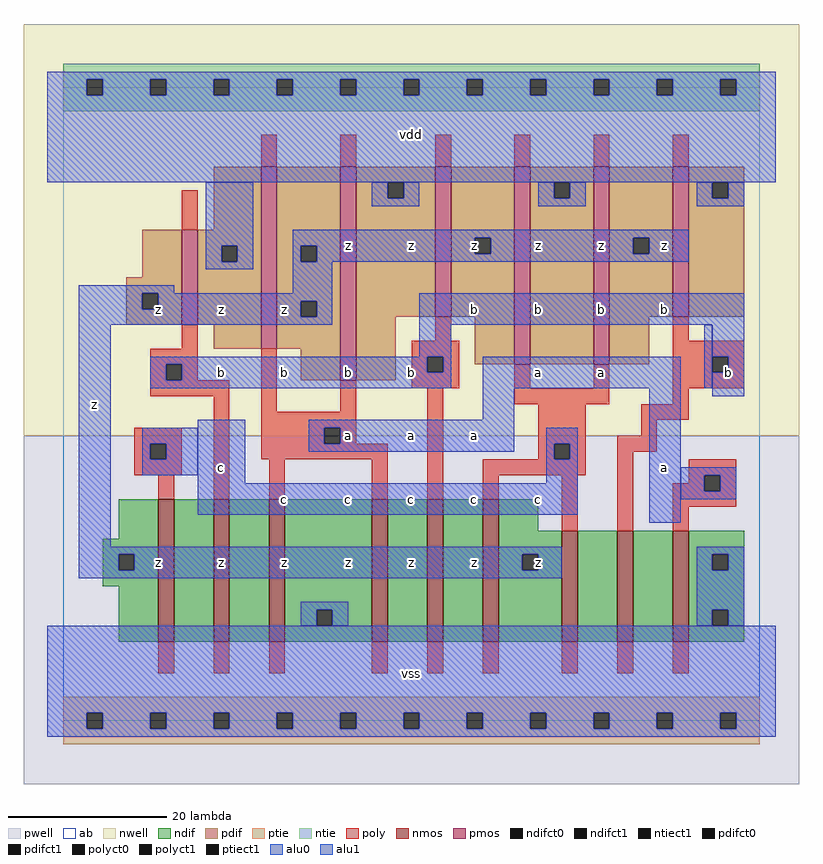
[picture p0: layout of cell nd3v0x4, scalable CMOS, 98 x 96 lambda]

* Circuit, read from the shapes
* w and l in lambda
.subckt nd3v0x4 a b c vdd vss z
M1 n1 c z vss nfet w=18 l=2
M2 n2 b n1 vss nfet w=18 l=2
M3 vss a n2 vss nfet w=18 l=2
M4 n3 a vss vss nfet w=18 l=2
M5 n4 b n3 vss nfet w=18 l=2
M6 z c n4 vss nfet w=18 l=2
M7 n5 c z vss nfet w=14 l=2
M8 n6 b n5 vss nfet w=14 l=2
M9 vss a n6 vss nfet w=14 l=2
M10 vdd b z vdd pfet w=12 l=2
M11 z a vdd vdd pfet w=23 l=2
M12 vdd a z vdd pfet w=27 l=2
M13 z b vdd vdd pfet w=19 l=2 m=2
M14 vdd c z vdd pfet w=25 l=2 m=2
.ends

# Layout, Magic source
magic
tech scmos
<< ab >>
rect 0 0 88 80
<< nwell >>
rect -5 36 93 88
<< pwell >>
rect -5 -8 93 36
<< poly >>
rect 25 70 27 74
rect 35 70 37 74
rect 47 70 49 74
rect 57 70 59 74
rect 67 70 69 74
rect 77 70 79 74
rect 15 62 17 67
rect 15 47 17 50
rect 11 45 17 47
rect 11 43 13 45
rect 15 43 17 45
rect 11 41 21 43
rect 9 35 15 37
rect 9 33 11 35
rect 13 33 15 35
rect 9 31 15 33
rect 12 28 14 31
rect 19 28 21 41
rect 25 39 27 47
rect 47 48 49 51
rect 44 46 50 48
rect 44 44 46 46
rect 48 44 50 46
rect 77 48 79 51
rect 77 46 86 48
rect 35 39 37 43
rect 44 42 50 44
rect 57 42 59 45
rect 67 42 69 45
rect 25 37 37 39
rect 25 35 33 37
rect 35 35 37 37
rect 25 33 41 35
rect 26 28 28 33
rect 39 28 41 33
rect 46 28 48 42
rect 57 40 69 42
rect 77 44 82 46
rect 84 44 86 46
rect 77 42 86 44
rect 77 40 79 42
rect 60 35 66 40
rect 73 38 79 40
rect 73 36 75 38
rect 60 33 62 35
rect 64 33 66 35
rect 53 31 66 33
rect 70 34 75 36
rect 53 28 55 31
rect 63 24 65 31
rect 70 24 72 34
rect 79 31 85 33
rect 79 30 81 31
rect 77 29 81 30
rect 83 29 85 31
rect 77 27 85 29
rect 77 24 79 27
rect 12 6 14 10
rect 19 6 21 10
rect 26 6 28 10
rect 39 6 41 10
rect 46 6 48 10
rect 53 6 55 10
rect 63 6 65 10
rect 70 6 72 10
rect 77 6 79 10
<< ndif >>
rect 7 23 12 28
rect 5 21 12 23
rect 5 19 7 21
rect 9 19 12 21
rect 5 17 12 19
rect 7 10 12 17
rect 14 10 19 28
rect 21 10 26 28
rect 28 14 39 28
rect 28 12 32 14
rect 34 12 39 14
rect 28 10 39 12
rect 41 10 46 28
rect 48 10 53 28
rect 55 24 60 28
rect 55 21 63 24
rect 55 19 58 21
rect 60 19 63 21
rect 55 10 63 19
rect 65 10 70 24
rect 72 10 77 24
rect 79 21 86 24
rect 79 19 82 21
rect 84 19 86 21
rect 79 14 86 19
rect 79 12 82 14
rect 84 12 86 14
rect 79 10 86 12
<< pdif >>
rect 19 62 25 70
rect 10 56 15 62
rect 8 54 15 56
rect 8 52 10 54
rect 12 52 15 54
rect 8 50 15 52
rect 17 60 25 62
rect 17 58 20 60
rect 22 58 25 60
rect 17 50 25 58
rect 19 47 25 50
rect 27 60 35 70
rect 27 58 30 60
rect 32 58 35 60
rect 27 53 35 58
rect 27 51 30 53
rect 32 51 35 53
rect 27 47 35 51
rect 30 43 35 47
rect 37 68 47 70
rect 37 66 41 68
rect 43 66 47 68
rect 37 51 47 66
rect 49 61 57 70
rect 49 59 52 61
rect 54 59 57 61
rect 49 51 57 59
rect 37 43 42 51
rect 52 45 57 51
rect 59 68 67 70
rect 59 66 62 68
rect 64 66 67 68
rect 59 45 67 66
rect 69 61 77 70
rect 69 59 72 61
rect 74 59 77 61
rect 69 51 77 59
rect 79 68 86 70
rect 79 66 82 68
rect 84 66 86 68
rect 79 51 86 66
rect 69 45 74 51
<< alu1 >>
rect -2 81 90 82
rect -2 79 3 81
rect 5 79 11 81
rect 13 79 19 81
rect 21 79 27 81
rect 29 79 35 81
rect 37 79 43 81
rect 45 79 51 81
rect 53 79 59 81
rect 61 79 67 81
rect 69 79 75 81
rect 77 79 83 81
rect 85 79 90 81
rect -2 68 90 79
rect 29 61 79 62
rect 29 60 52 61
rect 29 58 30 60
rect 32 59 52 60
rect 54 59 72 61
rect 74 59 79 61
rect 32 58 79 59
rect 2 54 14 55
rect 29 54 34 58
rect 2 52 10 54
rect 12 53 34 54
rect 12 52 30 53
rect 2 51 30 52
rect 32 51 34 53
rect 2 50 34 51
rect 45 50 86 54
rect 2 22 6 50
rect 45 46 49 50
rect 11 45 46 46
rect 11 43 13 45
rect 15 44 46 45
rect 48 44 49 46
rect 15 43 49 44
rect 11 42 49 43
rect 53 42 78 46
rect 82 46 86 50
rect 84 44 86 46
rect 53 38 57 42
rect 17 30 23 38
rect 31 37 57 38
rect 31 35 33 37
rect 35 35 57 37
rect 31 34 57 35
rect 61 35 65 37
rect 61 33 62 35
rect 64 33 65 35
rect 61 30 65 33
rect 17 26 65 30
rect 74 25 78 42
rect 82 41 86 44
rect 2 21 63 22
rect 2 19 7 21
rect 9 19 58 21
rect 60 19 63 21
rect 2 18 63 19
rect -2 1 90 12
rect -2 -1 3 1
rect 5 -1 11 1
rect 13 -1 19 1
rect 21 -1 27 1
rect 29 -1 35 1
rect 37 -1 43 1
rect 45 -1 51 1
rect 53 -1 59 1
rect 61 -1 67 1
rect 69 -1 75 1
rect 77 -1 83 1
rect 85 -1 90 1
rect -2 -2 90 -1
<< ptie >>
rect 0 1 88 3
rect 0 -1 3 1
rect 5 -1 11 1
rect 13 -1 19 1
rect 21 -1 27 1
rect 29 -1 35 1
rect 37 -1 43 1
rect 45 -1 51 1
rect 53 -1 59 1
rect 61 -1 67 1
rect 69 -1 75 1
rect 77 -1 83 1
rect 85 -1 88 1
rect 0 -3 88 -1
<< ntie >>
rect 0 81 88 83
rect 0 79 3 81
rect 5 79 11 81
rect 13 79 19 81
rect 21 79 27 81
rect 29 79 35 81
rect 37 79 43 81
rect 45 79 51 81
rect 53 79 59 81
rect 61 79 67 81
rect 69 79 75 81
rect 77 79 83 81
rect 85 79 88 81
rect 0 77 88 79
<< nmos >>
rect 12 10 14 28
rect 19 10 21 28
rect 26 10 28 28
rect 39 10 41 28
rect 46 10 48 28
rect 53 10 55 28
rect 63 10 65 24
rect 70 10 72 24
rect 77 10 79 24
<< pmos >>
rect 15 50 17 62
rect 25 47 27 70
rect 35 43 37 70
rect 47 51 49 70
rect 57 45 59 70
rect 67 45 69 70
rect 77 51 79 70
<< polyct0 >>
rect 11 33 13 35
rect 81 29 83 31
<< polyct1 >>
rect 13 43 15 45
rect 46 44 48 46
rect 33 35 35 37
rect 82 44 84 46
rect 62 33 64 35
<< ndifct0 >>
rect 32 12 34 14
rect 82 19 84 21
rect 82 12 84 14
<< ndifct1 >>
rect 7 19 9 21
rect 58 19 60 21
<< ntiect1 >>
rect 3 79 5 81
rect 11 79 13 81
rect 19 79 21 81
rect 27 79 29 81
rect 35 79 37 81
rect 43 79 45 81
rect 51 79 53 81
rect 59 79 61 81
rect 67 79 69 81
rect 75 79 77 81
rect 83 79 85 81
<< ptiect1 >>
rect 3 -1 5 1
rect 11 -1 13 1
rect 19 -1 21 1
rect 27 -1 29 1
rect 35 -1 37 1
rect 43 -1 45 1
rect 51 -1 53 1
rect 59 -1 61 1
rect 67 -1 69 1
rect 75 -1 77 1
rect 83 -1 85 1
<< pdifct0 >>
rect 20 58 22 60
rect 41 66 43 68
rect 62 66 64 68
rect 82 66 84 68
<< pdifct1 >>
rect 10 52 12 54
rect 30 58 32 60
rect 30 51 32 53
rect 52 59 54 61
rect 72 59 74 61
<< alu0 >>
rect 18 60 24 68
rect 39 66 41 68
rect 43 66 45 68
rect 39 65 45 66
rect 60 66 62 68
rect 64 66 66 68
rect 60 65 66 66
rect 80 66 82 68
rect 84 66 86 68
rect 80 65 86 66
rect 18 58 20 60
rect 22 58 24 60
rect 18 57 24 58
rect 81 42 82 50
rect 10 35 17 37
rect 10 33 11 35
rect 13 33 17 35
rect 10 31 17 33
rect 78 31 85 32
rect 78 29 81 31
rect 83 29 85 31
rect 78 28 85 29
rect 80 21 86 22
rect 80 19 82 21
rect 84 19 86 21
rect 30 14 36 15
rect 30 12 32 14
rect 34 12 36 14
rect 80 14 86 19
rect 80 12 82 14
rect 84 12 86 14
<< labels >>
rlabel alu1 12 20 12 20 6 z
rlabel alu1 4 40 4 40 6 z
rlabel alu1 12 52 12 52 6 z
rlabel alu1 20 20 20 20 6 z
rlabel alu1 28 20 28 20 6 z
rlabel alu1 28 28 28 28 6 c
rlabel alu1 20 32 20 32 6 c
rlabel alu1 20 44 20 44 6 b
rlabel alu1 28 44 28 44 6 b
rlabel alu1 20 52 20 52 6 z
rlabel alu1 28 52 28 52 6 z
rlabel alu1 44 6 44 6 6 vss
rlabel alu1 36 20 36 20 6 z
rlabel alu1 36 28 36 28 6 c
rlabel alu1 44 20 44 20 6 z
rlabel alu1 44 28 44 28 6 c
rlabel alu1 36 36 36 36 6 a
rlabel alu1 36 44 36 44 6 b
rlabel alu1 44 36 44 36 6 a
rlabel alu1 44 44 44 44 6 b
rlabel alu1 36 60 36 60 6 z
rlabel alu1 44 60 44 60 6 z
rlabel alu1 44 74 44 74 6 vdd
rlabel alu1 52 20 52 20 6 z
rlabel alu1 52 28 52 28 6 c
rlabel alu1 60 20 60 20 6 z
rlabel alu1 60 28 60 28 6 c
rlabel alu1 52 36 52 36 6 a
rlabel alu1 60 44 60 44 6 a
rlabel alu1 68 44 68 44 6 a
rlabel alu1 60 52 60 52 6 b
rlabel alu1 68 52 68 52 6 b
rlabel alu1 52 52 52 52 6 b
rlabel alu1 52 60 52 60 6 z
rlabel alu1 60 60 60 60 6 z
rlabel alu1 68 60 68 60 6 z
rlabel alu1 76 32 76 32 6 a
rlabel alu1 84 44 84 44 6 b
rlabel alu1 76 52 76 52 6 b
rlabel alu1 76 60 76 60 6 z
<< end >>
